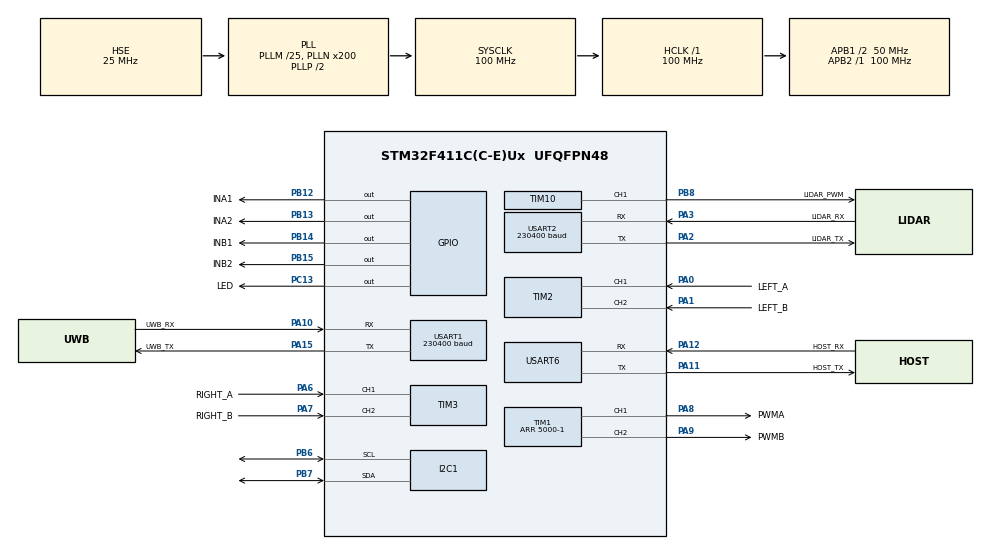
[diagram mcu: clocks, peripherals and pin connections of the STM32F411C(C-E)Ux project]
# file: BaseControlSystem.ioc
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Dma.Request0=USART2_RX
Dma.Request1=USART1_RX
Dma.USART1_RX.1.Direction=DMA_PERIPH_TO_MEMORY
Dma.USART1_RX.1.FIFOMode=DMA_FIFOMODE_DISABLE
Dma.USART1_RX.1.Instance=DMA2_Stream2
Dma.USART1_RX.1.MemDataAlignment=DMA_MDATAALIGN_BYTE
Dma.USART1_RX.1.MemInc=DMA_MINC_ENABLE
Dma.USART1_RX.1.Mode=DMA_CIRCULAR
Dma.USART1_RX.1.PeriphDataAlignment=DMA_PDATAALIGN_BYTE
Dma.USART1_RX.1.PeriphInc=DMA_PINC_DISABLE
Dma.USART1_RX.1.Priority=DMA_PRIORITY_HIGH
Dma.USART2_RX.0.Direction=DMA_PERIPH_TO_MEMORY
Dma.USART2_RX.0.FIFOMode=DMA_FIFOMODE_DISABLE
Dma.USART2_RX.0.Instance=DMA1_Stream5
Dma.USART2_RX.0.MemDataAlignment=DMA_MDATAALIGN_BYTE
Dma.USART2_RX.0.MemInc=DMA_MINC_ENABLE
Dma.USART2_RX.0.Mode=DMA_CIRCULAR
Dma.USART2_RX.0.PeriphDataAlignment=DMA_PDATAALIGN_BYTE
Dma.USART2_RX.0.PeriphInc=DMA_PINC_DISABLE
Dma.USART2_RX.0.Priority=DMA_PRIORITY_VERY_HIGH
I2C1.I2C_Mode=I2C_Fast
Mcu.Family=STM32F4
Mcu.Name=STM32F411C(C-E)Ux
Mcu.Package=UFQFPN48
NVIC.DMA1_Stream5_IRQn=true\:1\:0\:true\:false\:true\:false\:true\:true
NVIC.DMA2_Stream2_IRQn=true\:0\:0\:false\:false\:true\:false\:true\:true
NVIC.PriorityGroup=NVIC_PRIORITYGROUP_4
NVIC.TIM4_IRQn=true\:2\:0\:true\:false\:true\:true\:true\:true
NVIC.USART2_IRQn=true\:2\:0\:true\:false\:true\:true\:true\:true
NVIC.USART6_IRQn=true\:0\:0\:true\:false\:true\:true\:true\:true
PA0-WKUP.GPIO_Label=LEFT_A
PA0-WKUP.Signal=S_TIM2_CH1_ETR
PA1.GPIO_Label=LEFT_B
PA1.Signal=S_TIM2_CH2
PA10.GPIO_Label=UWB_RX
PA10.Mode=Asynchronous
PA10.Signal=USART1_RX
PA11.GPIO_Label=HOST_TX
PA11.Mode=Asynchronous
PA11.Signal=USART6_TX
PA12.GPIO_Label=HOST_RX
PA12.Mode=Asynchronous
PA12.Signal=USART6_RX
PA13.Mode=Serial_Wire
PA13.Signal=SYS_JTMS-SWDIO
PA14.Mode=Serial_Wire
PA14.Signal=SYS_JTCK-SWCLK
PA15.GPIO_Label=UWB_TX
PA15.Mode=Asynchronous
PA15.Signal=USART1_TX
PA2.GPIO_Label=LIDAR_TX
PA2.Mode=Asynchronous
PA2.Signal=USART2_TX
PA3.GPIO_Label=LIDAR_RX
PA3.Mode=Asynchronous
PA3.Signal=USART2_RX
PA6.GPIO_Label=RIGHT_A
PA6.Signal=S_TIM3_CH1
PA7.GPIO_Label=RIGHT_B
PA7.Signal=S_TIM3_CH2
PA8.GPIO_Label=PWMA
PA8.Signal=S_TIM1_CH1
PA9.GPIO_Label=PWMB
PA9.Signal=S_TIM1_CH2
PB12.GPIO_Label=INA1
PB12.Signal=GPIO_Output
PB13.GPIO_Label=INA2
PB13.Signal=GPIO_Output
PB14.GPIO_Label=INB1
PB14.Signal=GPIO_Output
PB15.GPIO_Label=INB2
PB15.Signal=GPIO_Output
PB6.Mode=I2C
PB6.Signal=I2C1_SCL
PB7.Mode=I2C
PB7.Signal=I2C1_SDA
PB8.GPIO_Label=LIDAR_PWM
PB8.Signal=S_TIM10_CH1
PC13-ANTI_TAMP.GPIO_Label=LED
PC13-ANTI_TAMP.PinState=GPIO_PIN_RESET
PC13-ANTI_TAMP.Signal=GPIO_Output
PH0\ -\ OSC_IN.Mode=HSE-External-Oscillator
PH0\ -\ OSC_IN.Signal=RCC_OSC_IN
PH1\ -\ OSC_OUT.Mode=HSE-External-Oscillator
PH1\ -\ OSC_OUT.Signal=RCC_OSC_OUT
ProjectManager.HeapSize=0x200
ProjectManager.StackSize=0x400
ProjectManager.TargetToolchain=MDK-ARM V5.32
RCC.48MHZClocksFreq_Value=50000000
RCC.AHBFreq_Value=100000000
RCC.APB1CLKDivider=RCC_HCLK_DIV2
RCC.APB1Freq_Value=50000000
RCC.APB1TimFreq_Value=100000000
RCC.APB2Freq_Value=100000000
RCC.APB2TimFreq_Value=100000000
RCC.CortexFreq_Value=100000000
RCC.HCLKFreq_Value=100000000
RCC.HSE_VALUE=25000000
RCC.HSI_VALUE=16000000
RCC.LSE_VALUE=32768
RCC.PLLM=25
RCC.PLLN=200
RCC.PLLSourceVirtual=RCC_PLLSOURCE_HSE
RCC.SYSCLKFreq_VALUE=100000000
RCC.SYSCLKSource=RCC_SYSCLKSOURCE_PLLCLK
RCC.VCOOutputFreq_Value=200000000
SH.S_TIM10_CH1.0=TIM10_CH1,PWM Generation1 CH1
SH.S_TIM1_CH1.0=TIM1_CH1,PWM Generation1 CH1
SH.S_TIM1_CH2.0=TIM1_CH2,PWM Generation2 CH2
SH.S_TIM2_CH1_ETR.0=TIM2_CH1,Encoder_Interface
SH.S_TIM2_CH2.0=TIM2_CH2,Encoder_Interface
SH.S_TIM3_CH1.0=TIM3_CH1,Encoder_Interface
SH.S_TIM3_CH2.0=TIM3_CH2,Encoder_Interface
TIM1.AutoReloadPreload=TIM_AUTORELOAD_PRELOAD_ENABLE
TIM1.Channel-PWM\ Generation1\ CH1=TIM_CHANNEL_1
TIM1.Channel-PWM\ Generation2\ CH2=TIM_CHANNEL_2
TIM1.Period=5000-1
TIM10.Channel=TIM_CHANNEL_1
TIM10.Period=3333-1
TIM2.EncoderMode=TIM_ENCODERMODE_TI12
TIM3.EncoderMode=TIM_ENCODERMODE_TI12
TIM4.Period=10000-1
TIM4.Prescaler=100-1
USART1.BaudRate=230400
USART1.VirtualMode=VM_ASYNC
USART2.BaudRate=230400
USART2.VirtualMode=VM_ASYNC
USART6.VirtualMode=VM_ASYNC
VP_TIM10_VS_ClockSourceINT.Mode=Enable_Timer
VP_TIM1_VS_ClockSourceINT.Mode=Internal
VP_TIM4_VS_ClockSourceINT.Mode=Internal
board=custom

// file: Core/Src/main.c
/* USER CODE BEGIN Header */
/**
  ******************************************************************************
  * @file           : main.c
  * @brief          : Main program body
  ******************************************************************************
  */
/* USER CODE END Header */
#include "main.h"
#include "dma.h"
#include "i2c.h"
#include "tim.h"
#include "usart.h"
#include "gpio.h"

/* USER CODE BEGIN Includes */
#include "Header.h"

/* USER CODE END Includes */

void SystemClock_Config(void);

int main(void)
{

  /* MCU Configuration--------------------------------------------------------*/

  /* Reset of all peripherals, Initializes the Flash interface and the Systick. */
  HAL_Init();

  /* Configure the system clock */
  SystemClock_Config();

  /* Initialize all configured peripherals */
  MX_GPIO_Init();
  MX_DMA_Init();
  MX_TIM1_Init();
  MX_TIM2_Init();
  MX_TIM3_Init();
  MX_USART1_UART_Init();
  MX_USART2_UART_Init();
  MX_USART6_UART_Init();
  MX_TIM4_Init();
  MX_TIM10_Init();
  MX_I2C1_Init();
  /* USER CODE BEGIN 2 */
  App_Init();
  printf("NAVI MODE: START\r\n");
  /* USER CODE END 2 */

  /* Infinite loop */
  while (1)
  {

    /* USER CODE BEGIN 3 */

    /* ── 陀螺仪 I2C 读取 + yaw 积分 (每5ms, 同上下文无竞争) ── */
#if DEBUG_ENABLE_GYRO
    {
        static uint32_t last_imu = 0;
        uint32_t now = HAL_GetTick();
        if ((uint32_t)(now - last_imu) >= 2) {
            last_imu = now;
            GyroHold_ReadIMU();
            GyroHold_Update();           /* 紧跟读取, 不跨 ISR 边界的 data race */
        }
    }
#endif

    /* ── LIDAR: 转弯开口检测 (右前方 0.5~1.0m 空地判断) ── */
#if DEBUG_ENABLE_LIDAR
    {
        static uint32_t last_lidar = 0;
        static uint32_t last_lidar_ok = 0;
        uint32_t now = HAL_GetTick();
        if ((uint32_t)(now - last_lidar) >= 30) {
            last_lidar = now;
            Lidar_Poll();
            uint16_t n;
            const LidarPoint_t *pts = Lidar_GetScan(&n);

            if (pts && n >= 100) {
                uint16_t right_zone_cnt = 0;
                uint16_t front_cnt = 0;
                uint16_t left_cnt  = 0;
                uint16_t right_cnt = 0;
                float front_m = 99.0f;
                float left_m  = 99.0f;
                float right_m = 99.0f;

                last_lidar_ok = now;

                for (uint16_t i = 0; i < n; i++) {
                    if (!pts[i].valid) continue;

                    /* 右前方 0.5~1.0m 区域点数: 少=开口空地 */
                    if (pts[i].x > 0.50f && pts[i].x < 1.00f && pts[i].y < -0.15f) {
                        right_zone_cnt++;
                    }
                    if (pts[i].x > 0.15f && pts[i].x < 0.90f &&
                        pts[i].y > -0.30f && pts[i].y < 0.30f) {
                        if (pts[i].x < front_m) front_m = pts[i].x;
                        front_cnt++;
                    }
                    if (pts[i].x > 0.12f && pts[i].x < 0.70f &&
                        pts[i].y > 0.18f && pts[i].y < 0.42f) {
                        if (pts[i].dist < left_m) left_m = pts[i].dist;
                        left_cnt++;
                    }
                    if (pts[i].x > 0.12f && pts[i].x < 0.70f &&
                        pts[i].y < -0.18f && pts[i].y > -0.42f) {
                        if (pts[i].dist < right_m) right_m = pts[i].dist;
                        right_cnt++;
                    }
                }

                /* 点数<5 → 右前方空旷 → 可转弯 */
                g_lidar_turn_open = (right_zone_cnt < 5) ? 1 : 0;
                g_lidar_front_m = (front_cnt >= 2) ? front_m : 99.0f;
                g_lidar_left_m  = (left_cnt  >= 2) ? left_m  : 99.0f;
                g_lidar_right_m = (right_cnt >= 2) ? right_m : 99.0f;
            } else if ((uint32_t)(now - last_lidar_ok) > NAV_LIDAR_TIMEOUT_MS) {
                g_lidar_turn_open = 0;
                g_lidar_front_m   = 99.0f;
                g_lidar_left_m    = 99.0f;
                g_lidar_right_m   = 99.0f;
            }
        }
    }
#endif

    /* ── 导航 (每50ms) ── */
#if DEBUG_ENABLE_NAVI
    {
        static uint32_t last_nav = 0;
        uint32_t now = HAL_GetTick();
        if ((uint32_t)(now - last_nav) >= 50) {
            last_nav = now;
            /* 检查ISR投递的目标 (防数据竞争) */
            if (nav_target_pending) {
                Nav_SetTarget(nav_pending_x, nav_pending_y);
                nav_target_pending = 0;
            }
            APP_Navigate_Update();
        }
    }
#endif

    /* ── 诊断 (每2s) ── */
    {
        static uint32_t last_diag = 0;
        uint32_t now = HAL_GetTick();
        if ((uint32_t)(now - last_diag) >= 2000) {
            last_diag = now;
            /* 清除 USART6 ORE: printf 发送期间若有字节到达不丢中断 */
            __HAL_UART_CLEAR_OREFLAG(&huart6);
            huart6.ErrorCode = HAL_UART_ERROR_NONE;
            {
                const UWB_State_t *u = UWB_GetState();
                printf("UWB raw: x=%.2f y=%.2f q=%d valid=%d\r\n",
                       u->x_m, u->y_m, u->quality, u->data_valid);
            }
            printf("NAV: st=%d TO=%d la=%d dutL=%d dutR=%d odAvg=%.0f uwb=(%d,%d) spdL=%.0f spdR=%.0f yaw=%.0f err=%.2f cw=%.2f lf=%.2f ll=%.2f lr=%.2f\r\n",
                   nav_state, g_lidar_turn_open, g_lidar_assist_state, g_duty_L, g_duty_R,
                   (Encoder_GetLeftOdom_mm() + Encoder_GetRightOdom_mm()) * 0.5f,
                   (int)nav_pose.x_mm, (int)nav_pose.y_mm,
                   Encoder_GetLeftSpeed_mm_s(), Encoder_GetRightSpeed_mm_s(),
                   HLD_get_yaw_deg(),
                   g_gyro_yaw_err, g_gyro_corr_w,
                   g_lidar_front_m, g_lidar_left_m, g_lidar_right_m);
        }
    }

  }
  /* USER CODE END 3 */
}

void SystemClock_Config(void)
{
  RCC_OscInitTypeDef RCC_OscInitStruct = {0};
  RCC_ClkInitTypeDef RCC_ClkInitStruct = {0};

  __HAL_RCC_PWR_CLK_ENABLE();
  __HAL_PWR_VOLTAGESCALING_CONFIG(PWR_REGULATOR_VOLTAGE_SCALE1);

  RCC_OscInitStruct.OscillatorType = RCC_OSCILLATORTYPE_HSE;
  RCC_OscInitStruct.HSEState = RCC_HSE_ON;
  RCC_OscInitStruct.PLL.PLLState = RCC_PLL_ON;
  RCC_OscInitStruct.PLL.PLLSource = RCC_PLLSOURCE_HSE;
  RCC_OscInitStruct.PLL.PLLM = 25;
  RCC_OscInitStruct.PLL.PLLN = 200;
  RCC_OscInitStruct.PLL.PLLP = RCC_PLLP_DIV2;
  RCC_OscInitStruct.PLL.PLLQ = 4;
  if (HAL_RCC_OscConfig(&RCC_OscInitStruct) != HAL_OK) { Error_Handler(); }

  RCC_ClkInitStruct.ClockType = RCC_CLOCKTYPE_HCLK|RCC_CLOCKTYPE_SYSCLK
                              |RCC_CLOCKTYPE_PCLK1|RCC_CLOCKTYPE_PCLK2;
  RCC_ClkInitStruct.SYSCLKSource = RCC_SYSCLKSOURCE_PLLCLK;
  RCC_ClkInitStruct.AHBCLKDivider = RCC_SYSCLK_DIV1;
  RCC_ClkInitStruct.APB1CLKDivider = RCC_HCLK_DIV2;
  RCC_ClkInitStruct.APB2CLKDivider = RCC_HCLK_DIV1;

  if (HAL_RCC_ClockConfig(&RCC_ClkInitStruct, FLASH_LATENCY_3) != HAL_OK) { Error_Handler(); }
}

void Error_Handler(void)
{
  __disable_irq();
  while (1) {}
}
